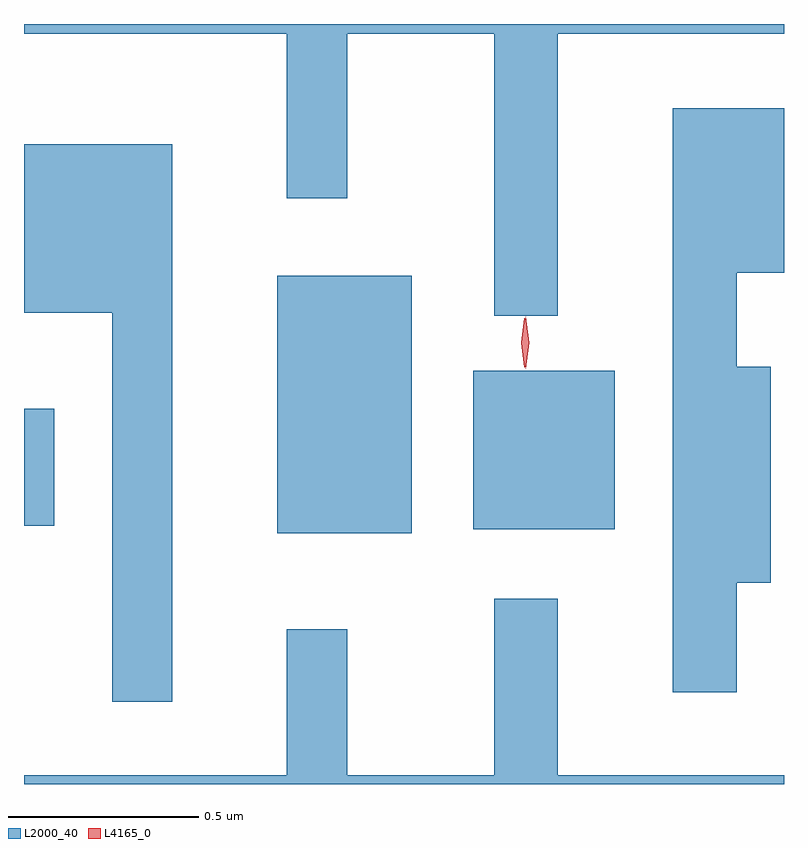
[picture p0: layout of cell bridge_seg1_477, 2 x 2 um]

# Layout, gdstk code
import gdstk
lib = gdstk.Library(unit=1e-6, precision=1e-09)
def R(c, l, rs):  # rectangles x0, y0, x1, y1
    for r in rs: c.add(gdstk.rectangle(r[:2], r[2:], *l))
def P(c, l, *ps):  # polygons
    for p in ps: c.add(gdstk.Polygon(p, *l))
L2000_40 = (2000, 40)
L4165_0 = (4165, 0)

bridge_seg1_477 = lib.new_cell('bridge_seg1_477')
R(bridge_seg1_477, L2000_40, [(243.271,856.081,243.624,856.759), (243.786,856.091,244.159,856.509), (242.604,856.101,242.684,856.409)])
P(bridge_seg1_477, L2000_40, [(244.009,857.396),(244.604,857.396),(244.604,857.421),(242.604,857.421),(242.604,857.396),(243.296,857.396),(243.296,856.963),(243.454,856.963),(243.454,857.396),(243.841,857.396),(243.841,856.653),(244.009,856.653)],
  [(244.479,855.951),(244.569,855.951),(244.569,856.519),(244.479,856.519),(244.479,856.766),(244.604,856.766),(244.604,857.199),(244.311,857.199),(244.311,855.663),(244.479,855.663)],
  [(242.994,857.104),(242.604,857.104),(242.604,856.661),(242.836,856.661),(242.836,855.638),(242.994,855.638)],
  [(244.604,855.444),(244.009,855.444),(244.009,855.908),(243.841,855.908),(243.841,855.444),(243.454,855.444),(243.454,855.828),(243.296,855.828),(243.296,855.444),(242.604,855.444),(242.604,855.421),(244.604,855.421)])
P(bridge_seg1_477, L4165_0, [(243.924,856.514),(243.924,856.514),(243.914,856.582),(243.924,856.65),(243.925,856.65),(243.925,856.65),(243.934,856.582),(243.924,856.514)],
  [(243.921,856.518),(243.921,856.518),(243.912,856.582),(243.921,856.647),(243.921,856.647),(243.922,856.647),(243.931,856.582),(243.922,856.518)])

lib.write_gds('bridge_seg1_477.gds')
